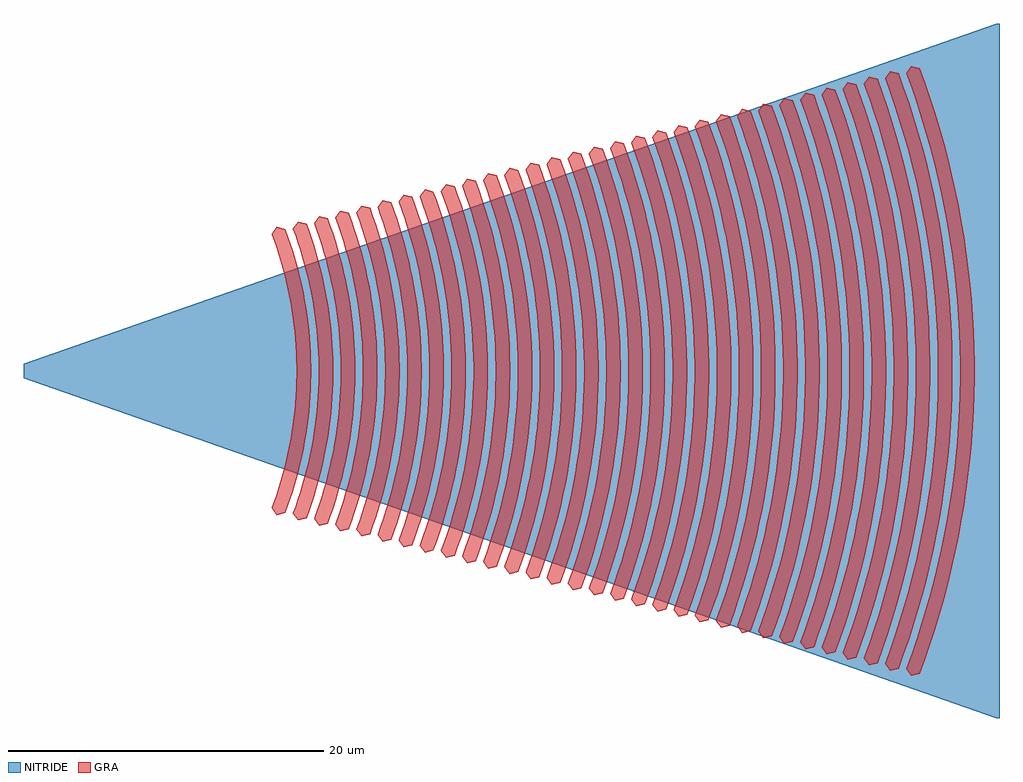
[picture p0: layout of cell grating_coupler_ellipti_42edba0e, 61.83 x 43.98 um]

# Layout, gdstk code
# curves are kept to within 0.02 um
import gdstk
lib = gdstk.Library(unit=1e-6, precision=1e-09)
def P(c, l, *ps):  # polygons
    for p in ps: c.add(gdstk.Polygon(p, *l))
GRA = (6, 0)
NITRIDE = (203, 0)

grating_coupler_ellipti_ = lib.new_cell('grating_coupler_ellipti_42edba0e')
P(grating_coupler_ellipti_, GRA, [(34.725,-9.123),(34.397,-8.679),(34.701,-7.814),(35.096,-6.506),(35.509,-4.735),(35.733,-3.392),(35.841,-2.491),(35.915,-1.587),(35.966,-0.227),(35.957,0.68),(35.882,2.039),(35.733,3.392),(35.591,4.289),(35.418,5.181),(35.096,6.506),(34.701,7.814),(34.397,8.679),(34.725,9.123),(35.261,8.991),(35.718,7.654),(36.103,6.292),(36.411,4.911),(36.643,3.518),(36.833,1.645),(36.884,0.235),(36.858,-1.176),(36.755,-2.583),(36.497,-4.447),(36.214,-5.833),(35.718,-7.654),(35.261,-8.991)],
  [(36.063,-9.463),(35.736,-9.018),(36.053,-8.121),(36.463,-6.761),(36.892,-4.921),(37.125,-3.525),(37.237,-2.588),(37.34,-1.178),(37.366,-0.236),(37.358,0.706),(37.28,2.119),(37.125,3.525),(36.977,4.457),(36.797,5.384),(36.463,6.761),(36.053,8.121),(35.736,9.018),(36.063,9.463),(36.6,9.332),(37.075,7.942),(37.59,6.053),(37.883,4.615),(38.097,3.167),(38.232,1.707),(38.286,0.244),(38.258,-1.22),(38.151,-2.68),(37.963,-4.135),(37.59,-6.053),(37.075,-7.942),(36.6,-9.332)],
  [(37.404,-9.803),(37.076,-9.359),(37.404,-8.426),(37.83,-7.016),(38.275,-5.106),(38.445,-4.142),(38.633,-2.685),(38.713,-1.711),(38.768,-0.245),(38.759,0.733),(38.678,2.198),(38.579,3.172),(38.364,4.625),(38.177,5.587),(37.83,7.016),(37.404,8.426),(37.076,9.359),(37.404,9.803),(37.94,9.671),(38.432,8.233),(38.964,6.274),(39.27,4.785),(39.491,3.282),(39.631,1.769),(39.686,0.253),(39.658,-1.264),(39.547,-2.779),(39.27,-4.785),(38.964,-6.274),(38.432,-8.233),(37.94,-9.671)],
  [(38.744,-10.143),(38.416,-9.699),(38.911,-8.248),(39.197,-7.271),(39.658,-5.292),(39.834,-4.293),(40.029,-2.784),(40.14,-1.267),(40.168,-0.254),(40.159,0.76),(40.075,2.278),(39.973,3.287),(39.75,4.793),(39.556,5.79),(39.197,7.271),(38.911,8.248),(38.416,9.699),(38.744,10.143),(39.28,10.011),(39.789,8.522),(40.341,6.494),(40.656,4.953),(40.885,3.397),(41.03,1.831),(41.088,0.262),(41.058,-1.309),(40.943,-2.876),(40.656,-4.953),(40.341,-6.494),(39.789,-8.522),(39.28,-10.011)],
  [(40.082,-10.482),(39.755,-10.037),(40.107,-9.039),(40.564,-7.526),(41.041,-5.477),(41.3,-3.923),(41.425,-2.88),(41.511,-1.835),(41.57,-0.263),(41.56,0.786),(41.473,2.358),(41.3,3.923),(41.136,4.961),(40.936,5.993),(40.564,7.526),(40.107,9.039),(39.755,10.037),(40.082,10.482),(40.619,10.351),(41.146,8.81),(41.45,7.768),(41.715,6.715),(42.042,5.121),(42.279,3.512),(42.429,1.893),(42.488,0.271),(42.458,-1.353),(42.339,-2.974),(42.131,-4.585),(41.834,-6.185),(41.588,-7.241),(41.302,-8.29),(40.979,-9.329),(40.619,-10.351)],
  [(41.423,-10.822),(41.095,-10.378),(41.782,-8.306),(42.069,-7.254),(42.424,-5.663),(42.692,-4.056),(42.821,-2.979),(42.94,-1.356),(42.97,-0.271),(42.961,0.813),(42.871,2.438),(42.762,3.517),(42.523,5.129),(42.315,6.196),(41.93,7.78),(41.625,8.826),(41.095,10.378),(41.423,10.822),(41.959,10.69),(42.503,9.1),(43.092,6.934),(43.429,5.289),(43.674,3.627),(43.828,1.956),(43.89,0.279),(43.879,-0.839),(43.828,-1.956),(43.674,-3.627),(43.429,-5.289),(43.092,-6.934),(42.503,-9.1),(41.959,-10.69)],
  [(42.761,-11.162),(42.434,-10.717),(42.81,-9.651),(43.145,-8.578),(43.44,-7.492),(43.807,-5.849),(44.002,-4.744),(44.217,-3.076),(44.309,-1.96),(44.372,-0.28),(44.361,0.84),(44.268,2.518),(44.156,3.633),(43.909,5.297),(43.695,6.399),(43.297,8.036),(42.81,9.651),(42.434,10.717),(42.761,11.162),(43.298,11.031),(43.86,9.389),(44.468,7.155),(44.815,5.457),(45.068,3.743),(45.227,2.018),(45.29,0.288),(45.258,-1.442),(45.131,-3.168),(44.91,-4.886),(44.593,-6.591),(44.33,-7.718),(44.027,-8.834),(43.682,-9.941),(43.298,-11.031)],
  [(44.102,-11.502),(43.774,-11.057),(44.161,-9.957),(44.507,-8.85),(44.948,-7.167),(45.19,-6.034),(45.476,-4.322),(45.613,-3.174),(45.74,-1.444),(45.772,-0.289),(45.762,0.866),(45.666,2.598),(45.476,4.322),(45.295,5.465),(44.948,7.167),(44.663,8.291),(44.339,9.404),(43.774,11.057),(44.102,11.502),(44.638,11.371),(45.217,9.678),(45.551,8.531),(45.842,7.375),(46.201,5.625),(46.462,3.857),(46.626,2.08),(46.692,0.297),(46.658,-1.486),(46.527,-3.266),(46.299,-5.038),(45.972,-6.794),(45.702,-7.955),(45.389,-9.106),(45.033,-10.247),(44.638,-11.371)],
  [(45.441,-11.842),(45.113,-11.397),(45.513,-10.263),(45.869,-9.121),(46.323,-7.387),(46.573,-6.22),(46.78,-5.045),(47.009,-3.271),(47.107,-2.084),(47.174,-0.298),(47.163,0.893),(47.064,2.678),(46.944,3.863),(46.682,5.633),(46.454,6.805),(46.031,8.545),(45.513,10.263),(45.113,11.397),(45.441,11.842),(45.977,11.711),(46.385,10.553),(46.751,9.379),(47.219,7.595),(47.588,5.793),(47.856,3.973),(48.025,2.142),(48.092,0.306),(48.058,-1.531),(47.923,-3.363),(47.688,-5.187),(47.352,-6.997),(47.074,-8.193),(46.751,-9.379),(46.385,-10.553),(45.977,-11.711)],
  [(46.781,-12.182),(46.453,-11.738),(46.864,-10.57),(47.398,-8.801),(47.698,-7.608),(47.956,-6.405),(48.259,-4.588),(48.405,-3.369),(48.54,-1.533),(48.574,-0.307),(48.563,0.92),(48.461,2.757),(48.338,3.978),(48.068,5.801),(47.833,7.007),(47.398,8.801),(46.864,10.57),(46.453,11.738),(46.781,12.182),(47.317,12.05),(47.736,10.858),(48.113,9.651),(48.594,7.816),(48.974,5.961),(49.25,4.088),(49.424,2.205),(49.493,0.315),(49.458,-1.575),(49.319,-3.461),(49.077,-5.337),(48.731,-7.199),(48.445,-8.43),(48.113,-9.651),(47.736,-10.858),(47.317,-12.05)],
  [(48.119,-12.521),(47.792,-12.076),(48.216,-10.876),(48.593,-9.665),(48.925,-8.443),(49.339,-6.591),(49.651,-4.721),(49.801,-3.467),(49.94,-1.578),(49.976,-0.316),(49.964,0.946),(49.905,2.208),(49.801,3.467),(49.651,4.721),(49.339,6.591),(48.925,8.443),(48.409,10.272),(47.792,12.076),(48.119,12.521),(48.656,12.39),(49.287,10.546),(49.651,9.297),(49.97,8.036),(50.36,6.129),(50.644,4.204),(50.823,2.266),(50.894,0.324),(50.858,-1.62),(50.715,-3.559),(50.466,-5.488),(50.111,-7.402),(49.817,-8.667),(49.475,-9.923),(49.088,-11.164),(48.656,-12.39)],
  [(49.46,-12.861),(49.132,-12.416),(49.567,-11.181),(50.132,-9.31),(50.592,-7.413),(50.841,-6.137),(51.043,-4.853),(51.198,-3.564),(51.34,-1.622),(51.376,-0.325),(51.364,0.973),(51.304,2.27),(51.198,3.564),(51.043,4.853),(50.722,6.776),(50.296,8.68),(49.766,10.561),(49.132,12.416),(49.46,12.861),(49.996,12.73),(50.644,10.835),(51.018,9.552),(51.346,8.256),(51.747,6.297),(52.038,4.319),(52.222,2.328),(52.294,0.333),(52.258,-1.664),(52.112,-3.656),(51.856,-5.638),(51.49,-7.605),(51.188,-8.906),(50.837,-10.195),(50.439,-11.471),(49.996,-12.73)],
  [(50.8,-13.201),(50.472,-12.757),(50.918,-11.488),(51.499,-9.565),(51.825,-8.269),(52.106,-6.962),(52.435,-4.986),(52.594,-3.661),(52.74,-1.666),(52.776,-0.334),(52.765,1),(52.703,2.333),(52.594,3.661),(52.435,4.986),(52.106,6.962),(51.668,8.919),(51.123,10.85),(50.472,12.757),(50.8,13.201),(51.336,13.069),(52.001,11.124),(52.385,9.807),(52.721,8.477),(53.133,6.465),(53.432,4.434),(53.621,2.391),(53.695,0.342),(53.658,-1.708),(53.508,-3.755),(53.245,-5.789),(52.87,-7.808),(52.56,-9.143),(52.199,-10.467),(51.79,-11.778),(51.336,-13.069)],
  [(52.138,-13.541),(51.811,-13.096),(52.27,-11.794),(52.866,-9.82),(53.201,-8.489),(53.489,-7.147),(53.827,-5.119),(53.99,-3.759),(54.14,-1.711),(54.178,-0.342),(54.166,1.026),(54.102,2.394),(53.99,3.759),(53.827,5.119),(53.489,7.147),(53.039,9.156),(52.48,11.139),(51.811,13.096),(52.138,13.541),(52.675,13.41),(53.358,11.413),(53.752,10.062),(54.097,8.697),(54.519,6.632),(54.827,4.549),(55.02,2.454),(55.096,0.35),(55.058,-1.753),(54.904,-3.851),(54.634,-5.94),(54.249,-8.011),(53.931,-9.38),(53.561,-10.739),(53.142,-12.084),(52.675,-13.41)],
  [(53.479,-13.881),(53.151,-13.437),(53.837,-11.428),(54.411,-9.393),(54.872,-7.333),(55.115,-5.948),(55.309,-4.555),(55.45,-3.157),(55.54,-1.755),(55.578,-0.351),(55.566,1.053),(55.501,2.457),(55.386,3.857),(55.218,5.252),(54.872,7.333),(54.411,9.393),(53.837,11.428),(53.151,13.437),(53.479,13.881),(54.015,13.749),(54.493,12.39),(54.923,11.01),(55.301,9.619),(55.629,8.214),(55.905,6.8),(56.221,4.665),(56.419,2.515),(56.497,0.359),(56.458,-1.797),(56.3,-3.949),(56.023,-6.09),(55.629,-8.214),(55.301,-9.619),(54.923,-11.01),(54.493,-12.39),(54.015,-13.749)],
  [(54.817,-14.22),(54.49,-13.775),(54.973,-12.406),(55.599,-10.329),(56.11,-8.225),(56.505,-6.098),(56.703,-4.67),(56.848,-3.237),(56.94,-1.8),(56.98,-0.36),(56.967,1.08),(56.848,3.237),(56.703,4.67),(56.505,6.098),(56.11,8.225),(55.599,10.329),(54.973,12.406),(54.49,13.775),(54.817,14.22),(55.354,14.089),(56.072,11.991),(56.485,10.571),(56.848,9.138),(57.292,6.969),(57.615,4.78),(57.818,2.577),(57.898,0.368),(57.858,-1.842),(57.696,-4.046),(57.413,-6.24),(57.008,-8.417),(56.674,-9.857),(56.285,-11.283),(55.845,-12.696),(55.354,-14.089)],
  [(56.158,-14.56),(55.83,-14.116),(56.551,-12.006),(57.154,-9.868),(57.49,-8.428),(57.894,-6.249),(58.097,-4.785),(58.245,-3.317),(58.34,-1.844),(58.381,-0.369),(58.368,1.106),(58.245,3.317),(58.097,4.785),(57.894,6.249),(57.49,8.428),(57.154,9.868),(56.551,12.006),(55.83,14.116),(56.158,14.56),(56.694,14.428),(57.196,13.002),(57.647,11.555),(58.044,10.094),(58.388,8.62),(58.678,7.137),(59.009,4.895),(59.217,2.64),(59.3,0.377),(59.258,-1.886),(59.092,-4.144),(58.802,-6.391),(58.388,-8.62),(58.044,-10.094),(57.647,-11.555),(57.196,-13.002),(56.694,-14.428)],
  [(57.497,-14.9),(57.169,-14.455),(57.676,-13.018),(58.333,-10.839),(58.869,-8.631),(59.283,-6.399),(59.491,-4.9),(59.643,-3.396),(59.74,-1.888),(59.782,-0.378),(59.768,1.133),(59.643,3.396),(59.491,4.9),(59.283,6.399),(58.869,8.631),(58.333,10.839),(57.676,13.018),(57.169,14.455),(57.497,14.9),(58.033,14.769),(58.548,13.308),(59.009,11.827),(59.417,10.331),(59.767,8.823),(60.191,6.541),(60.488,4.242),(60.616,2.701),(60.7,0.386),(60.658,-1.93),(60.488,-4.242),(60.191,-6.541),(59.767,-8.823),(59.417,-10.331),(59.009,-11.827),(58.548,-13.308),(58.033,-14.769)],
  [(58.837,-15.24),(58.509,-14.795),(59.027,-13.324),(59.7,-11.094),(60.249,-8.834),(60.672,-6.55),(60.885,-5.016),(61.041,-3.476),(61.14,-1.933),(61.182,-0.387),(61.169,1.16),(61.041,3.476),(60.885,5.016),(60.672,6.55),(60.249,8.834),(59.7,11.094),(59.027,13.324),(58.509,14.795),(58.837,15.24),(59.373,15.109),(59.899,13.614),(60.371,12.099),(60.788,10.569),(61.147,9.026),(61.451,7.473),(61.797,5.126),(62.015,2.763),(62.102,0.395),(62.058,-1.975),(61.884,-4.339),(61.58,-6.692),(61.147,-9.026),(60.788,-10.569),(60.371,-12.099),(59.899,-13.614),(59.373,-15.109)],
  [(60.177,-15.58),(59.849,-15.136),(60.378,-13.63),(61.067,-11.349),(61.628,-9.037),(62.062,-6.7),(62.279,-5.131),(62.438,-3.556),(62.54,-1.977),(62.584,-0.396),(62.54,1.977),(62.438,3.556),(62.279,5.131),(62.062,6.7),(61.628,9.037),(61.067,11.349),(60.378,13.63),(59.849,15.136),(60.177,15.58),(60.713,15.448),(61.25,13.92),(61.733,12.371),(62.159,10.807),(62.526,9.229),(62.97,6.842),(63.28,4.437),(63.414,2.827),(63.502,0.404),(63.458,-2.019),(63.28,-4.437),(62.97,-6.842),(62.526,-9.229),(62.159,-10.807),(61.733,-12.371),(61.25,-13.92),(60.713,-15.448)],
  [(61.516,-15.92),(61.188,-15.476),(61.73,-13.936),(62.434,-11.604),(63.008,-9.24),(63.451,-6.85),(63.673,-5.246),(63.836,-3.636),(63.94,-2.022),(63.984,-0.405),(63.97,1.213),(63.836,3.636),(63.673,5.246),(63.451,6.85),(63.008,9.24),(62.434,11.604),(61.73,13.936),(61.188,15.476),(61.516,15.92),(62.052,15.788),(62.602,14.226),(63.095,12.643),(63.531,11.044),(63.906,9.432),(64.359,6.994),(64.676,4.534),(64.813,2.889),(64.904,0.413),(64.858,-2.064),(64.676,-4.534),(64.359,-6.994),(63.906,-9.432),(63.531,-11.044),(63.095,-12.643),(62.602,-14.226),(62.052,-15.788)],
  [(62.856,-16.259),(62.528,-15.814),(63.081,-14.243),(63.801,-11.859),(64.387,-9.443),(64.84,-7.001),(65.067,-5.361),(65.234,-3.716),(65.34,-2.066),(65.385,-0.414),(65.371,1.239),(65.234,3.716),(65.067,5.361),(64.84,7.001),(64.387,9.443),(63.801,11.859),(63.081,14.243),(62.528,15.814),(62.856,16.259),(63.392,16.128),(63.953,14.533),(64.457,12.915),(64.902,11.281),(65.285,9.635),(65.748,7.143),(66.072,4.632),(66.212,2.95),(66.304,0.422),(66.258,-2.108),(66.072,-4.632),(65.748,-7.143),(65.285,-9.635),(64.902,-11.281),(64.457,-12.915),(63.953,-14.533),(63.392,-16.128)],
  [(64.195,-16.599),(63.867,-16.154),(64.433,-14.549),(65.168,-12.114),(65.767,-9.646),(66.229,-7.152),(66.462,-5.477),(66.632,-3.796),(66.74,-2.11),(66.786,-0.422),(66.771,1.266),(66.632,3.796),(66.462,5.477),(66.229,7.152),(65.767,9.646),(65.168,12.114),(64.433,14.549),(63.867,16.154),(64.195,16.599),(64.731,16.468),(65.305,14.839),(65.819,13.187),(66.274,11.519),(66.665,9.838),(66.996,8.145),(67.374,5.587),(67.611,3.012),(67.706,0.43),(67.658,-2.152),(67.468,-4.729),(67.137,-7.294),(66.665,-9.838),(66.274,-11.519),(65.819,-13.187),(65.305,-14.839),(64.731,-16.468)],
  [(65.535,-16.939),(65.207,-16.495),(65.784,-14.855),(66.534,-12.368),(67.146,-9.849),(67.619,-7.302),(67.856,-5.592),(68.029,-3.876),(68.14,-2.155),(68.188,-0.431),(68.172,1.293),(68.029,3.876),(67.856,5.592),(67.619,7.302),(67.146,9.849),(66.534,12.368),(65.784,14.855),(65.207,16.495),(65.535,16.939),(66.071,16.807),(66.656,15.145),(67.181,13.459),(67.645,11.758),(68.044,10.041),(68.382,8.313),(68.768,5.702),(69.01,3.075),(69.107,0.439),(69.058,-2.197),(68.864,-4.827),(68.527,-7.444),(68.044,-10.041),(67.645,-11.758),(67.181,-13.459),(66.656,-15.145),(66.071,-16.807)],
  [(66.873,-17.279),(66.546,-16.834),(67.136,-15.161),(67.901,-12.623),(68.526,-10.052),(69.008,-7.452),(69.25,-5.707),(69.427,-3.956),(69.54,-2.199),(69.588,-0.44),(69.573,1.319),(69.427,3.956),(69.25,5.707),(69.008,7.452),(68.526,10.052),(67.901,12.623),(67.136,15.161),(66.546,16.834),(66.873,17.279),(67.41,17.148),(68.008,15.451),(68.543,13.731),(69.015,11.995),(69.424,10.244),(69.769,8.481),(70.162,5.817),(70.409,3.136),(70.508,0.448),(70.458,-2.241),(70.26,-4.925),(69.916,-7.594),(69.424,-10.244),(69.015,-11.995),(68.543,-13.731),(68.008,-15.451),(67.41,-17.148)],
  [(68.214,-17.619),(67.886,-17.175),(68.763,-14.609),(69.268,-12.878),(69.905,-10.255),(70.397,-7.603),(70.644,-5.822),(70.825,-4.035),(70.94,-2.244),(70.989,-0.449),(70.973,1.346),(70.825,4.035),(70.644,5.822),(70.397,7.603),(69.905,10.255),(69.268,12.878),(68.763,14.609),(67.886,17.175),(68.214,17.619),(68.75,17.487),(69.061,16.627),(69.641,14.883),(70.154,13.12),(70.803,10.447),(71.305,7.745),(71.657,5.022),(71.808,3.199),(71.908,0.457),(71.858,-2.286),(71.741,-4.111),(71.439,-6.84),(70.987,-9.549),(70.604,-11.341),(70.154,-13.12),(69.641,-14.883),(69.061,-16.627),(68.75,-17.487)],
  [(69.554,-17.958),(69.226,-17.514),(70.12,-14.898),(70.635,-13.134),(71.285,-10.458),(71.786,-7.752),(72.038,-5.938),(72.222,-4.115),(72.34,-2.288),(72.39,-0.458),(72.374,1.373),(72.222,4.115),(72.038,5.938),(71.786,7.752),(71.285,10.458),(70.635,13.134),(70.12,14.898),(69.226,17.514),(69.554,17.958),(70.09,17.826),(70.408,16.949),(71.268,14.276),(71.759,12.471),(72.183,10.65),(72.694,7.896),(73.053,5.12),(73.207,3.262),(73.31,0.466),(73.258,-2.33),(73.053,-5.12),(72.831,-6.973),(72.37,-9.735),(71.979,-11.561),(71.521,-13.374),(70.998,-15.172),(70.408,-16.949),(70.09,-17.826)],
  [(70.892,-18.298),(70.565,-17.853),(71.19,-16.079),(72.002,-13.388),(72.664,-10.661),(73.176,-7.904),(73.432,-6.053),(73.62,-4.195),(73.74,-2.332),(73.792,-0.467),(73.775,1.399),(73.62,4.195),(73.432,6.053),(73.176,7.904),(72.664,10.661),(72.002,13.388),(71.19,16.079),(70.565,17.853),(70.892,18.298),(71.429,18.167),(71.753,17.273),(72.63,14.548),(73.131,12.707),(73.562,10.853),(74.084,8.046),(74.449,5.217),(74.606,3.324),(74.711,0.475),(74.658,-2.374),(74.449,-5.217),(74.084,-8.046),(73.753,-9.92),(73.131,-12.707),(72.63,-14.548),(72.062,-16.369),(71.429,-18.167)],
  [(72.233,-18.638),(71.905,-18.194),(72.541,-16.385),(73.369,-13.643),(74.044,-10.864),(74.565,-8.054),(74.826,-6.168),(75.018,-4.275),(75.14,-2.377),(75.192,-0.476),(75.175,1.426),(75.018,4.275),(74.826,6.168),(74.565,8.054),(74.044,10.864),(73.369,13.643),(72.541,16.385),(71.905,18.194),(72.233,18.638),(72.769,18.506),(73.098,17.595),(73.992,14.82),(74.502,12.945),(74.942,11.056),(75.473,8.196),(75.845,5.315),(76.005,3.385),(76.112,0.484),(76.058,-2.419),(75.934,-4.351),(75.614,-7.238),(75.137,-10.106),(74.502,-12.945),(73.992,-14.82),(73.413,-16.675),(72.769,-18.506)],
  [(73.572,-18.978),(73.244,-18.533),(73.893,-16.692),(74.736,-13.899),(75.423,-11.067),(75.954,-8.205),(76.22,-6.283),(76.415,-4.355),(76.54,-2.421),(76.593,-0.485),(76.576,1.453),(76.415,4.355),(76.22,6.283),(75.954,8.205),(75.423,11.067),(74.736,13.899),(73.893,16.692),(73.244,18.533),(73.572,18.978),(74.108,18.847),(74.444,17.919),(75.354,15.092),(75.873,13.183),(76.321,11.259),(76.862,8.347),(77.241,5.412),(77.404,3.448),(77.512,0.493),(77.458,-2.463),(77.241,-5.412),(76.862,-8.347),(76.52,-10.291),(75.873,-13.183),(75.354,-15.092),(74.765,-16.982),(74.108,-18.847)],
  [(74.912,-19.318),(74.584,-18.873),(75.244,-16.998),(76.103,-14.153),(76.803,-11.27),(77.343,-8.354),(77.614,-6.398),(77.813,-4.435),(77.94,-2.466),(77.994,-0.493),(77.94,2.466),(77.813,4.435),(77.614,6.398),(77.343,8.354),(76.803,11.27),(76.103,14.153),(75.244,16.998),(74.584,18.873),(74.912,19.318),(75.448,19.187),(75.79,18.242),(76.716,15.364),(77.245,13.42),(77.701,11.462),(78.251,8.498),(78.637,5.51),(78.803,3.51),(78.914,0.501),(78.858,-2.508),(78.637,-5.51),(78.398,-7.504),(77.903,-10.477),(77.245,-13.42),(76.716,-15.364),(76.116,-17.288),(75.448,-19.187)])
P(grating_coupler_ellipti_, NITRIDE, [(80.296,-21.99),(18.666,-0.475),(18.666,0.475),(80.296,21.99),(80.496,21.99),(80.496,-21.99)])

lib.write_gds('grating_coupler_ellipti_42edba0e.gds')
